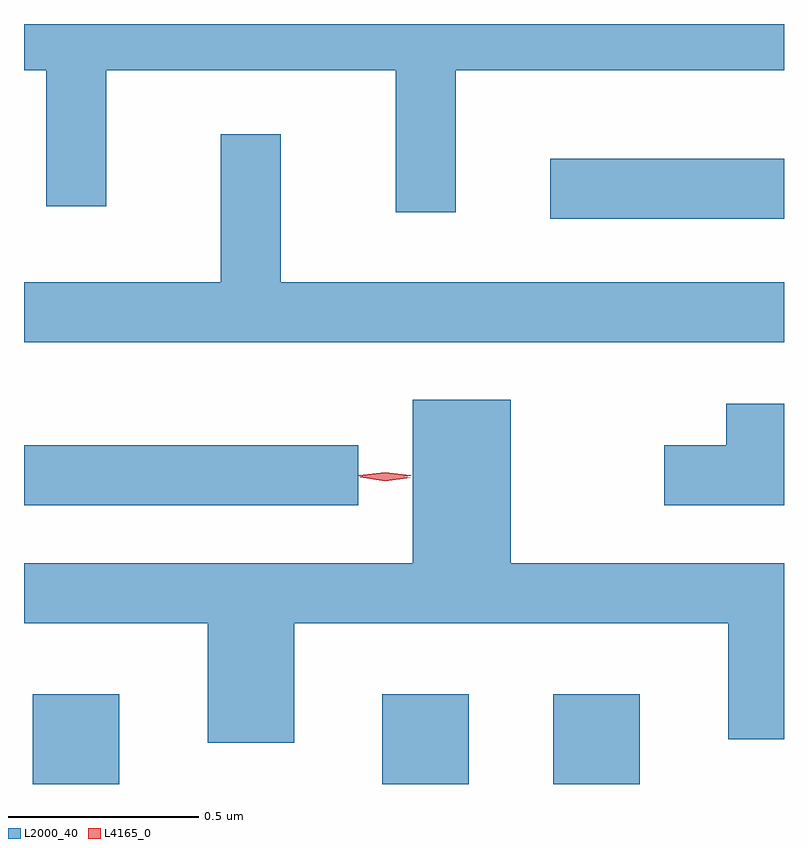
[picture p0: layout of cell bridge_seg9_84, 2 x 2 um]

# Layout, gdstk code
import gdstk
lib = gdstk.Library(unit=1e-6, precision=1e-09)
def R(c, l, rs):  # rectangles x0, y0, x1, y1
    for r in rs: c.add(gdstk.rectangle(r[:2], r[2:], *l))
def P(c, l, *ps):  # polygons
    for p in ps: c.add(gdstk.Polygon(p, *l))
L2000_40 = (2000, 40)
L4165_0 = (4165, 0)

bridge_seg9_84 = lib.new_cell('bridge_seg9_84')
R(bridge_seg9_84, L2000_40, [(1817.021,1978.838,1817.249,1979.074), (1817.941,1978.838,1818.169,1979.074), (1818.391,1978.838,1818.619,1979.074), (1816.998,1979.571,1817.878,1979.729), (1818.383,1980.326,1818.998,1980.484)])
P(bridge_seg9_84, L2000_40, [(1818.134,1980.716),(1818.998,1980.716),(1818.998,1980.838),(1816.998,1980.838),(1816.998,1980.716),(1817.056,1980.716),(1817.056,1980.358),(1817.214,1980.358),(1817.214,1980.716),(1817.976,1980.716),(1817.976,1980.343),(1818.134,1980.343)],
  [(1818.998,1980.159),(1817.674,1980.159),(1817.674,1980.548),(1817.516,1980.548),(1817.516,1980.159),(1816.998,1980.159),(1816.998,1980.001),(1818.998,1980.001)],
  [(1817.709,1979.261),(1818.851,1979.261),(1818.851,1978.956),(1818.998,1978.956),(1818.998,1979.419),(1818.279,1979.419),(1818.279,1979.849),(1818.021,1979.849),(1818.021,1979.419),(1816.998,1979.419),(1816.998,1979.261),(1817.481,1979.261),(1817.481,1978.946),(1817.709,1978.946)],
  [(1818.998,1979.839),(1818.846,1979.839),(1818.846,1979.729),(1818.683,1979.729),(1818.683,1979.571),(1818.998,1979.571)])
P(bridge_seg9_84, L4165_0, [(1817.948,1979.635),(1817.883,1979.645),(1817.882,1979.646),(1817.883,1979.646),(1817.948,1979.655),(1818.014,1979.644),(1818.014,1979.644),(1818.014,1979.644)],
  [(1817.948,1979.639),(1817.879,1979.649),(1817.879,1979.649),(1817.879,1979.65),(1817.948,1979.659),(1818.016,1979.65),(1818.017,1979.649),(1818.016,1979.649)])

lib.write_gds('bridge_seg9_84.gds')
